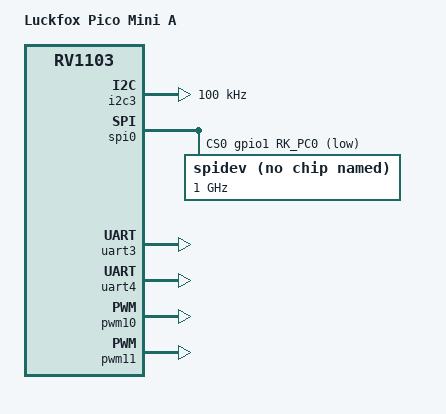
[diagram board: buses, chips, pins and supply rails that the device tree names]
// SPDX-License-Identifier: (GPL-2.0+ OR MIT)
/*
 * Copyright (c) 2023 Luckfox Electronics Co., Ltd.
 */

/dts-v1/;

#include "rv1103.dtsi"
#include "rv1106-evb.dtsi"
#include "rv1103-luckfox-pico-mini-ipc.dtsi"

/ {
	model = "Luckfox Pico Mini A";
	compatible = "rockchip,rv1103g-38x38-ipc-v10", "rockchip,rv1103";
};

// /**********ETH**********/
&gmac {
	status = "disabled";
};

/**********USB**********/
//&usbdrd {
//	status = "disabled";
//};

//&usbdrd_dwc3 {
//	status = "disabled";
//};

//&u2phy {
//	status = "disabled";
//};

//&u2phy_otg {
//	status = "disabled";
//};

// /**********I2C**********/
&i2c3 {
	status = "okay";
	pinctrl-0 = <&i2c3m1_xfer>;
	clock-frequency = <100000>;
};

// /**********SPI**********/
&spi0 {
	status = "okay";
	pinctrl-names = "default";
	pinctrl-0 = <&spi0m0_pins>;
	cs-gpios = <&gpio1 RK_PC0 1>;
	// cs-gpios = <&gpio1 RK_PD3 1>;
	#address-cells = <1>;
	#size-cells = <0>;
	spidev@0 {
		compatible = "rockchip,spidev";
		spi-max-frequency = <1000000000>;
		reg = <0>;
	};
};

/**********UART**********/
&uart3 {
	status = "okay";
	pinctrl-names = "default";
	pinctrl-0 = <&uart3m1_xfer>;
};
&uart4 {
	status = "okay";
	pinctrl-names = "default";
	pinctrl-0 = <&uart4m1_xfer>;
};


/**********PWM**********/

// &pwm0 {
// 	status = "okay";
// 	pinctrl-names = "active";
// 	pinctrl-0 = <&pwm0m0_pins>;
// 	// pinctrl-0 = <&pwm0m1_pins>;
// };
// &pwm1 {
// 	status = "okay";
// 	pinctrl-names = "active";
// 	pinctrl-0 = <&pwm1m0_pins>;
// 	// pinctrl-0 = <&pwm1m1_pins>;
// };
//&pwm2 {
//	status = "okay";
//	pinctrl-names = "active";
//	pinctrl-0 = <&pwm2m2_pins>;
//};
//&pwm3 {
//	status = "okay";
//	pinctrl-names = "active";
//	pinctrl-0 = <&pwm3m2_pins>;
//};
//&pwm4 {
//	status = "okay";
//	pinctrl-names = "active";
//	pinctrl-0 = <&pwm4m2_pins>;
//};
//&pwm5 {
//	status = "okay";
//	pinctrl-names = "active";
//	pinctrl-0 = <&pwm5m2_pins>;
//};
//&pwm6 {
//	status = "okay";
//	pinctrl-names = "active";
//	pinctrl-0 = <&pwm6m2_pins>;
//};
//&pwm7 {
//	status = "okay";
//	pinctrl-names = "active";
//	pinctrl-0 = <&pwm7m2_pins>;
//};
//&pwm8 {
//	status = "okay";
//	pinctrl-names = "active";
//	// pinctrl-0 = <&pwm8m1_pins>;
//	pinctrl-0 = <&pwm8m0_pins>;
//};
//&pwm9 {
//	status = "okay";
//	pinctrl-names = "active";
//	// pinctrl-0 = <&pwm9m1_pins>;
//	pinctrl-0 = <&pwm9m0_pins>;
//};

&pwm10 {
	status = "okay";
	pinctrl-names = "active";
	pinctrl-0 = <&pwm10m1_pins>;
	// pinctrl-0 = <&pwm10m2_pins>;
	// pinctrl-0 = <&pwm10m0_pins>;
};
&pwm11 {
	status = "okay";
	pinctrl-names = "active";
	pinctrl-0 = <&pwm11m1_pins>;
	// pinctrl-0 = <&pwm11m2_pins>;
	// pinctrl-0 = <&pwm11m0_pins>;
};



